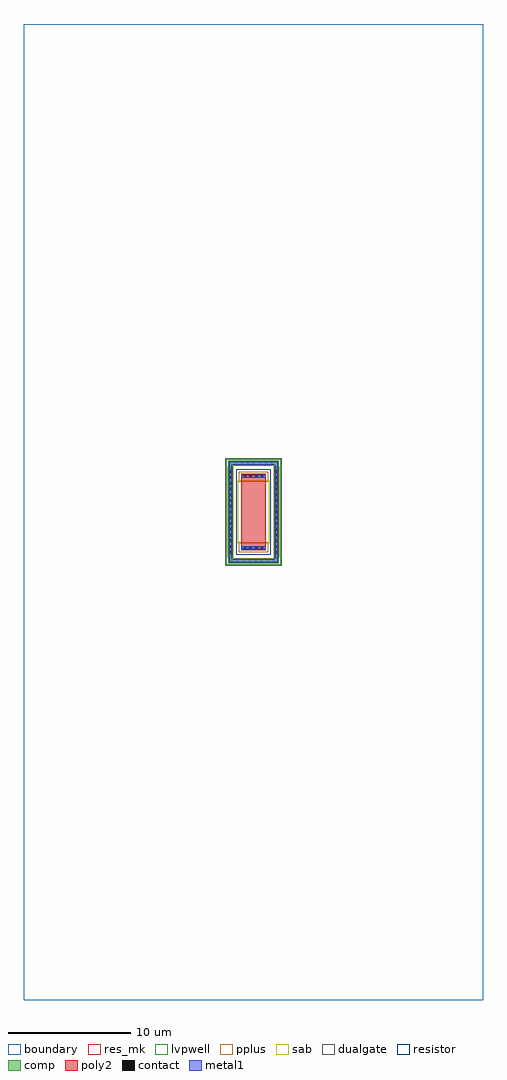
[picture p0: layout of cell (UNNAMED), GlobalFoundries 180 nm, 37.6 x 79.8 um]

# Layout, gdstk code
import gdstk
lib = gdstk.Library(unit=1e-6, precision=1e-09)
def R(c, l, rs):  # rectangles x0, y0, x1, y1
    for r in rs: c.add(gdstk.rectangle(r[:2], r[2:], *l))
def A(c, l, x, y, w, h, nx, ny, dx, dy):  # array of equal rectangles
    R(c, l, [(x+i*dx, y+j*dy, x+i*dx+w, y+j*dy+h) for i in range(nx) for j in range(ny)])
boundary = (0, 0)
comp = (22, 0)
poly2 = (30, 0)
pplus = (31, 0)
contact = (33, 0)
metal1 = (34, 0)
sab = (49, 0)
dualgate = (55, 0)
resistor = (62, 0)
res_mk = (110, 5)
lvpwell = (204, 0)

c__unnamed_ = lib.new_cell('(UNNAMED)')
R(c__unnamed_, boundary, [(-18.8,-39.9,18.8,39.9)])
R(c__unnamed_, comp, [(-2.06,-4.17,2.06,-3.81), (-2.06,-3.81,-1.7,3.81), (1.7,-3.81,2.06,3.81), (-2.06,3.81,2.06,4.17)])
R(c__unnamed_, poly2, [(-1,-3.11,1,3.11)])
R(c__unnamed_, pplus, [(-2.08,-4.19,2.08,-3.79), (-2.08,-3.79,-1.67,-3.685), (1.67,-3.79,2.08,-3.685), (-2.09,-3.685,-1.67,3.685), (1.67,-3.685,2.09,3.685), (-1.2,-3.31,1.2,-2.5), (-1.2,2.5,1.2,3.31), (-2.08,3.685,-1.67,3.79), (1.67,3.685,2.08,3.79), (-2.08,3.79,2.08,4.19)])
A(c__unnamed_, contact, -1.99, -3.4, 0.22, 0.22, 1, 15, 0, 0.47)
A(c__unnamed_, contact, 1.77, -3.4, 0.22, 0.22, 1, 15, 0, 0.47)
A(c__unnamed_, contact, -0.815, -3.04, 0.22, 0.22, 4, 2, 0.47, 5.86)
R(c__unnamed_, metal1, [(-1.995,-4.105,1.995,-3.875), (-1.995,-3.875,-1.765,3.875), (1.765,-3.875,1.995,3.875), (-0.99,-3.045,0.99,-2.815), (-0.99,2.815,0.99,3.045), (-1.995,3.875,1.995,4.105)])
R(c__unnamed_, sab, [(-1.28,-2.6,1.28,2.6), (-1.28,-2.5,1.28,2.5)])
R(c__unnamed_, dualgate, [(-2.3,-4.41,2.3,4.41)])
R(c__unnamed_, resistor, [(-1.4,-3.51,1.4,3.51)])
R(c__unnamed_, res_mk, [(-1.28,-2.5,1.28,2.5), (-1,-2.5,1,2.5)])
R(c__unnamed_, lvpwell, [(-2.22,-4.33,2.22,4.33)])

lib.write_gds('_UNNAMED_.gds')
